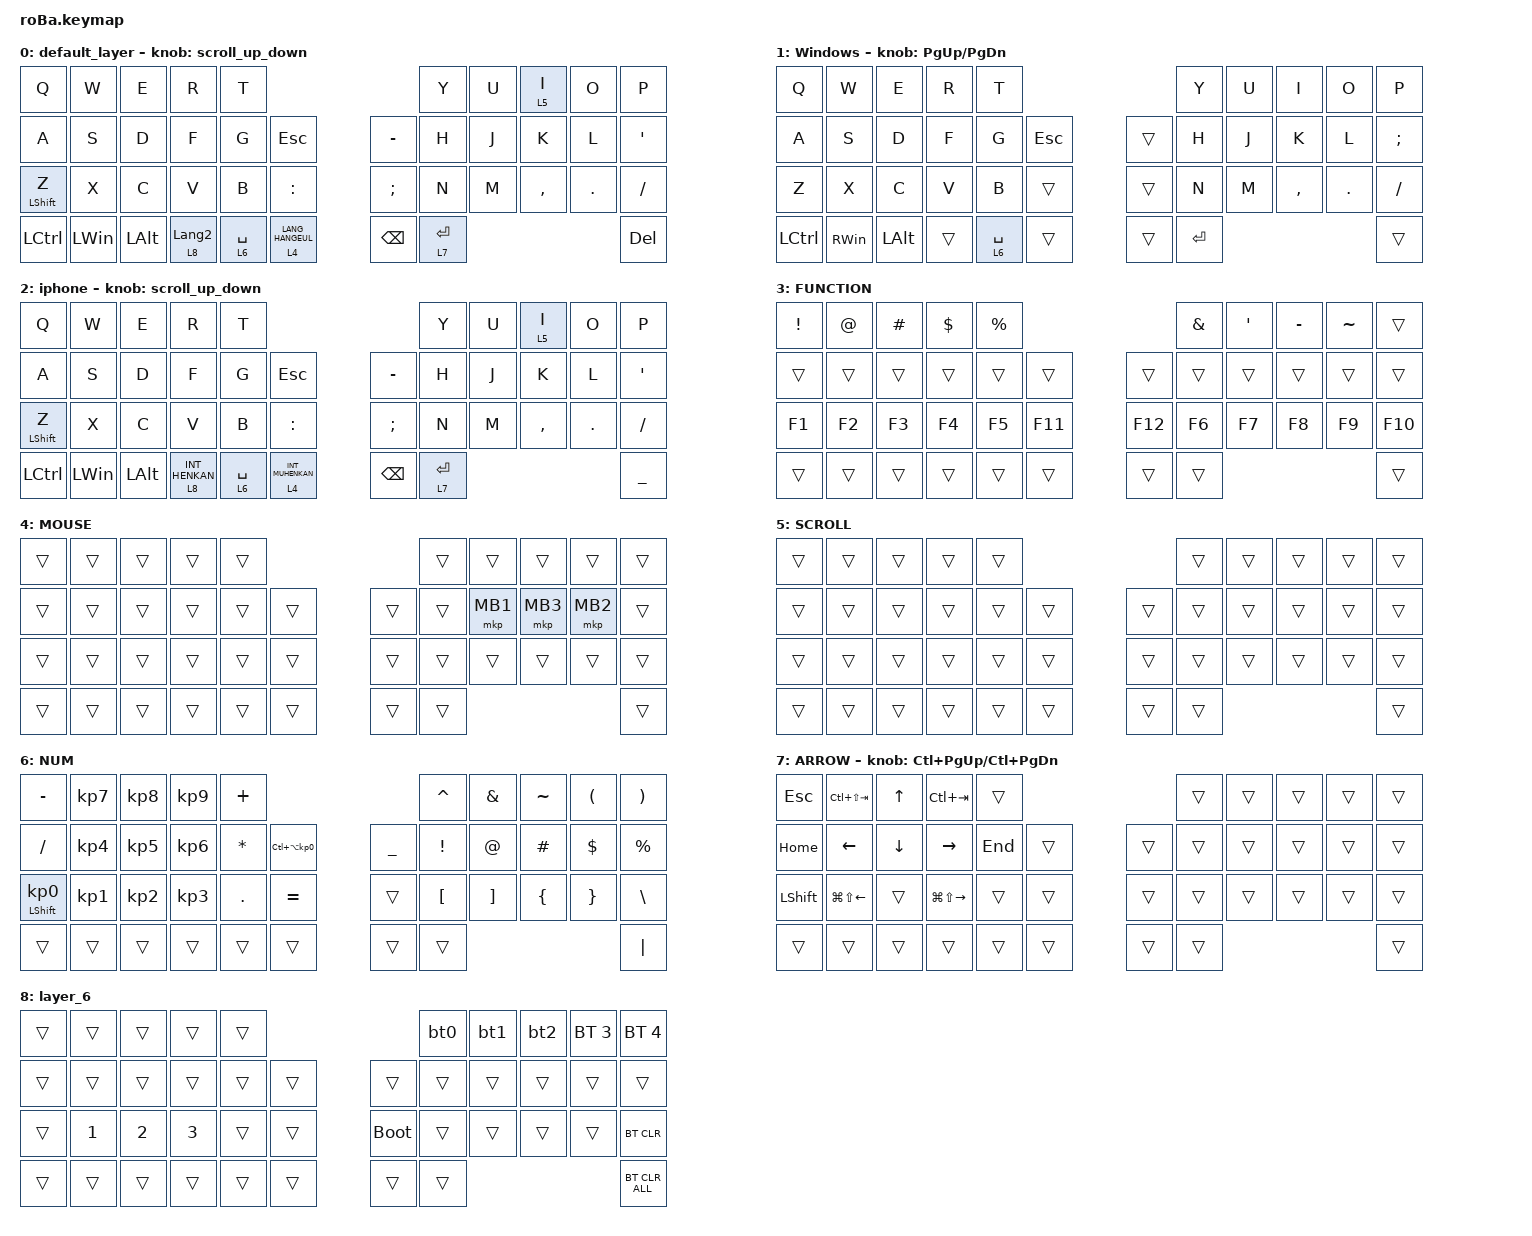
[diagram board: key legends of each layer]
#include <behaviors.dtsi>
#include <dt-bindings/zmk/bt.h>
#include <dt-bindings/zmk/keys.h>
#include <dt-bindings/zmk/pointing.h>
#include <dt-bindings/zmk/pointing.h>

#define ZMK_MOUSE_POINTING_SCRL_VAL 140
#define MOUSE 4
#define SCROLL 5
#define NUM 6

&mt {
    flavor = "balanced";
    quick-tap-ms = <0>;
};

/ {
    combos {
        compatible = "zmk,combos";

        tab {
            bindings = <&kp TAB>;
            key-positions = <11 12>;
        };

        shift_tab {
            bindings = <&kp LS(TAB)>;
            key-positions = <12 13>;
        };

        muhennkann {
            bindings = <&to_layer_0 INT_MUHENKAN>;
            key-positions = <11 10>;
        };

        double_quotation {
            bindings = <&kp DOUBLE_QUOTES>;
            key-positions = <20 21>;
        };

        eq {
            bindings = <&kp EQUAL>;
            key-positions = <24 25>;
        };
    };

    macros {
        to_layer_0: to_layer_0 {
            compatible = "zmk,behavior-macro-one-param";
            #binding-cells = <1>;
            bindings = <&to 0 &macro_param_1to1 &kp MACRO_PLACEHOLDER>;
            label = "TO_LAYER_0";
        };

        bt0: bt0 {
            compatible = "zmk,behavior-macro";
            #binding-cells = <0>;
            bindings =
                <&tog_off 1 &tog_off 2>,
                <&macro_wait_time 200>,
                <&bt BT_SEL 0>,
                <&macro_wait_time 500>;

            label = "bt0";
        };

        bt1: bt1 {
            compatible = "zmk,behavior-macro";
            #binding-cells = <0>;
            bindings =
                <&tog_off 1 &tog_off 2>,
                <&macro_wait_time 200>,
                <&bt BT_SEL 1>,
                <&macro_wait_time 500>,
                <&tog_on 1>;

            label = "BT1";
        };

        bt2: bt2 {
            compatible = "zmk,behavior-macro";
            #binding-cells = <0>;
            bindings =
                <&tog_off 1 &tog_off 2>,
                <&macro_wait_time 200>,
                <&bt BT_SEL 2>,
                <&macro_wait_time 500>,
                <&tog_on 2>;

            label = "BT2";
        };
    };

    behaviors {
        lt_to_layer_0: lt_to_layer_0 {
            compatible = "zmk,behavior-hold-tap";
            label = "LAYER_TAP_TO_0";
            bindings = <&mo>, <&to_layer_0>;

            #binding-cells = <2>;
            tapping-term-ms = <200>;
        };

        scroll_up_down: behavior_sensor_rotate_mouse_wheel_up_down {
            compatible = "zmk,behavior-sensor-rotate";
            #sensor-binding-cells = <0>;
            bindings = <&msc SCRL_UP>, <&msc SCRL_DOWN>;

            tap-ms = <20>;
        };

        tog_on: toggle_layer_on_only {
            compatible = "zmk,behavior-toggle-layer";
            #binding-cells = <1>;
            display-name = "Toggle Layer On";
            toggle-mode = "on";
        };

        tog_off: toggle_layer_off_only {
            compatible = "zmk,behavior-toggle-layer";
            #binding-cells = <1>;
            display-name = "Toggle Layer Off";
            toggle-mode = "off";
        };
    };

    keymap {
        compatible = "zmk,keymap";

        default_layer {
            bindings = <
&kp Q             &kp W         &kp E         &kp R                        &kp T                                                          &kp Y        &kp U  &lt 5 I    &kp O    &kp P
&kp A             &kp S         &kp D         &kp F                        &kp G        &kp ESC                            &kp MINUS      &kp H        &kp J  &kp K      &kp L    &kp SQT
&mt LEFT_SHIFT Z  &kp X         &kp C         &kp V                        &kp B        &kp COLON                          &kp SEMICOLON  &kp N        &kp M  &kp COMMA  &kp DOT  &kp SLASH
&kp LCTRL         &kp LEFT_WIN  &kp LEFT_ALT  &lt_to_layer_0 8 LANGUAGE_2  &lt 6 SPACE  &lt_to_layer_0 4 LANG_HANGEUL      &kp BACKSPACE  &lt 7 ENTER                             &kp DEL
            >;

            sensor-bindings = <&scroll_up_down>;
        };

        Windows {
            bindings = <
&kp Q             &kp W     &kp E         &kp R   &kp T                             &kp Y      &kp U  &kp I      &kp O    &kp P
&kp A             &kp S     &kp D         &kp F   &kp G        &kp ESC      &trans  &kp H      &kp J  &kp K      &kp L    &kp SEMI
&kp Z             &kp X     &kp C         &kp V   &kp B        &trans       &trans  &kp N      &kp M  &kp COMMA  &kp DOT  &kp FSLH
&kp LEFT_CONTROL  &kp RWIN  &kp LEFT_ALT  &trans  &lt 6 SPACE  &trans       &trans  &kp ENTER                             &trans
            >;

            sensor-bindings = <&inc_dec_kp PG_UP PG_DN>;
        };

        iphone {
            bindings = <
&kp Q             &kp W         &kp E         &kp R                        &kp T                                                          &kp Y        &kp U  &lt 5 I    &kp O    &kp P
&kp A             &kp S         &kp D         &kp F                        &kp G        &kp ESC                            &kp MINUS      &kp H        &kp J  &kp K      &kp L    &kp SQT
&mt LEFT_SHIFT Z  &kp X         &kp C         &kp V                        &kp B        &kp COLON                          &kp SEMICOLON  &kp N        &kp M  &kp COMMA  &kp DOT  &kp SLASH
&kp LCTRL         &kp LEFT_WIN  &kp LEFT_ALT  &lt_to_layer_0 8 INT_HENKAN  &lt 6 SPACE  &lt_to_layer_0 4 INT_MUHENKAN      &kp BACKSPACE  &lt 7 ENTER                             &kp UNDERSCORE
            >;

            sensor-bindings = <&scroll_up_down>;
        };

        FUNCTION {
            bindings = <
&kp EXCLAMATION  &kp AT_SIGN  &kp HASH  &kp DOLLAR  &kp PERCENT                        &kp AMPERSAND  &kp SQT  &kp MINUS  &kp TILDE  &trans
&trans           &trans       &trans    &trans      &trans       &trans       &trans   &trans         &trans   &trans     &trans     &trans
&kp F1           &kp F2       &kp F3    &kp F4      &kp F5       &kp F11      &kp F12  &kp F6         &kp F7   &kp F8     &kp F9     &kp F10
&trans           &trans       &trans    &trans      &trans       &trans       &trans   &trans                                        &trans
            >;
        };

        MOUSE {
            bindings = <
&trans  &trans  &trans  &trans  &trans                      &trans  &trans    &trans    &trans    &trans
&trans  &trans  &trans  &trans  &trans  &trans      &trans  &trans  &mkp MB1  &mkp MB3  &mkp MB2  &trans
&trans  &trans  &trans  &trans  &trans  &trans      &trans  &trans  &trans    &trans    &trans    &trans
&trans  &trans  &trans  &trans  &trans  &trans      &trans  &trans                                &trans
            >;
        };

        SCROLL {
            bindings = <
&trans  &trans  &trans  &trans  &trans                      &trans  &trans  &trans  &trans  &trans
&trans  &trans  &trans  &trans  &trans  &trans      &trans  &trans  &trans  &trans  &trans  &trans
&trans  &trans  &trans  &trans  &trans  &trans      &trans  &trans  &trans  &trans  &trans  &trans
&trans  &trans  &trans  &trans  &trans  &trans      &trans  &trans                          &trans
            >;
        };

        NUM {
            bindings = <
&kp MINUS                   &kp KP_NUMBER_7  &kp KP_NUMBER_8  &kp KP_NUMBER_9  &kp PLUS                                                   &kp CARET         &kp AMPERSAND      &kp TILDE       &kp LEFT_PARENTHESIS  &kp RIGHT_PARENTHESIS
&kp SLASH                   &kp KP_NUMBER_4  &kp KP_NUMBER_5  &kp KP_NUMBER_6  &kp ASTERISK  &kp LC(LA(KP_NUMBER_0))      &kp UNDERSCORE  &kp EXCLAMATION   &kp AT_SIGN        &kp HASH        &kp DOLLAR            &kp PERCENT
&mt LEFT_SHIFT KP_NUMBER_0  &kp KP_NUMBER_1  &kp KP_NUMBER_2  &kp KP_NUMBER_3  &kp PERIOD    &kp EQUAL                    &trans          &kp LEFT_BRACKET  &kp RIGHT_BRACKET  &kp LEFT_BRACE  &kp RIGHT_BRACE       &kp BACKSLASH
&trans                      &trans           &trans           &trans           &trans        &trans                       &trans          &trans                                                                     &kp PIPE
            >;
        };

        ARROW {
            bindings = <
&kp ESCAPE      &kp LC(LS(TAB))         &kp UP_ARROW    &kp LC(TAB)              &trans                       &trans  &trans  &trans  &trans  &trans
&kp HOME        &kp LEFT_ARROW          &kp DOWN_ARROW  &kp RIGHT_ARROW          &kp END  &trans      &trans  &trans  &trans  &trans  &trans  &trans
&kp LEFT_SHIFT  &kp LG(LS(LEFT_ARROW))  &trans          &kp LG(LS(RIGHT_ARROW))  &trans   &trans      &trans  &trans  &trans  &trans  &trans  &trans
&trans          &trans                  &trans          &trans                   &trans   &trans      &trans  &trans                          &trans
            >;

            sensor-bindings = <&inc_dec_kp LC(PAGE_UP) LC(PAGE_DOWN)>;
        };

        layer_6 {
            bindings = <
&trans  &trans        &trans        &trans        &trans                           &bt0    &bt1    &bt2    &bt BT_SEL 3  &bt BT_SEL 4
&trans  &trans        &trans        &trans        &trans  &trans      &trans       &trans  &trans  &trans  &trans        &trans
&trans  &kp NUMBER_1  &kp NUMBER_2  &kp NUMBER_3  &trans  &trans      &bootloader  &trans  &trans  &trans  &trans        &bt BT_CLR
&trans  &trans        &trans        &trans        &trans  &trans      &trans       &trans                                &bt BT_CLR_ALL
            >;
        };
    };
};
